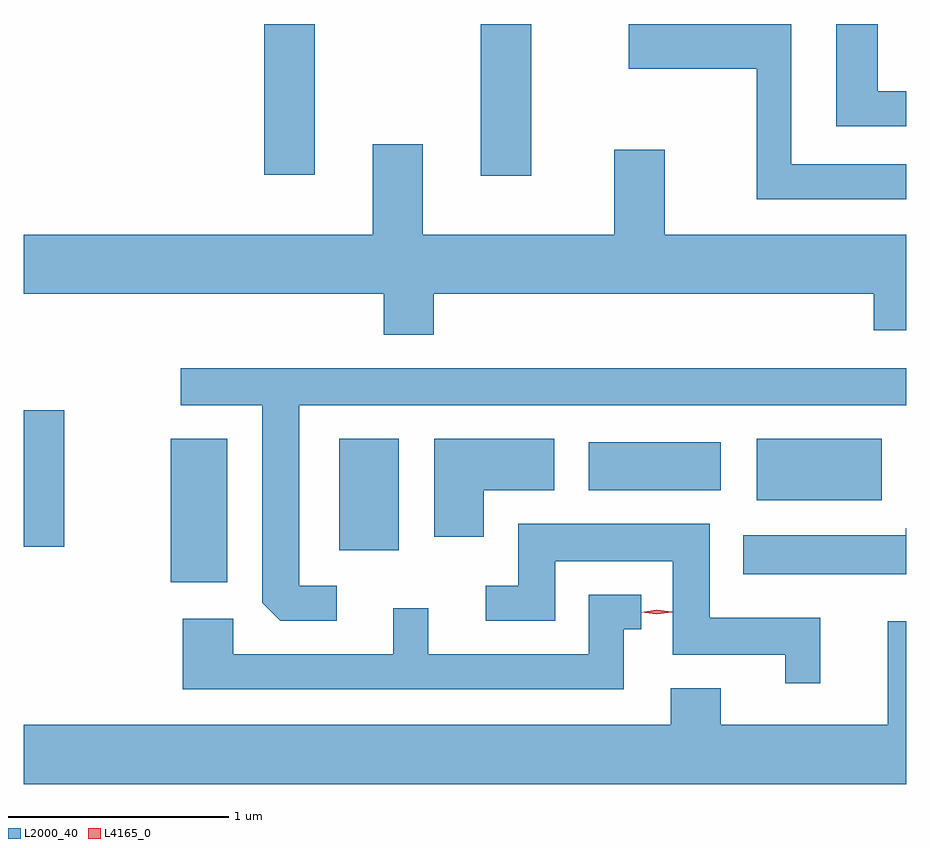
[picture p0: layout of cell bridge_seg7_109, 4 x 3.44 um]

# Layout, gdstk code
import gdstk
lib = gdstk.Library(unit=1e-6, precision=1e-09)
def R(c, l, rs):  # rectangles x0, y0, x1, y1
    for r in rs: c.add(gdstk.rectangle(r[:2], r[2:], *l))
def P(c, l, *ps):  # polygons
    for p in ps: c.add(gdstk.Polygon(p, *l))
L2000_40 = (2000, 40)
L4165_0 = (4165, 0)

bridge_seg7_109 = lib.new_cell('bridge_seg7_109')
R(bridge_seg7_109, L2000_40, [(1564.286,1772.951,1564.544,1773.599), (1565.051,1773.096,1565.319,1773.599), (1563.62,1773.111,1563.804,1773.729), (1566.941,1773.321,1567.509,1773.599), (1566.181,1773.366,1566.779,1773.584), (1565.691,1774.791,1565.919,1775.479), (1564.711,1774.796,1564.939,1775.479)])
P(bridge_seg7_109, L2000_40, [(1567.62,1775.174),(1567.489,1775.174),(1567.489,1775.479),(1567.301,1775.479),(1567.301,1775.016),(1567.62,1775.016)],
  [(1567.62,1774.844),(1567.099,1774.844),(1567.099,1775.479),(1566.361,1775.479),(1566.361,1775.276),(1566.941,1775.276),(1566.941,1774.686),(1567.62,1774.686)],
  [(1565.479,1774.256),(1567.471,1774.256),(1567.471,1774.091),(1567.62,1774.091),(1567.62,1774.524),(1566.524,1774.524),(1566.524,1774.909),(1566.296,1774.909),(1566.296,1774.524),(1565.429,1774.524),(1565.429,1774.934),(1565.201,1774.934),(1565.201,1774.524),(1563.62,1774.524),(1563.62,1774.256),(1565.251,1774.256),(1565.251,1774.071),(1565.479,1774.071)],
  [(1565.038,1772.934),(1564.869,1772.934),(1564.869,1773.751),(1567.62,1773.751),(1567.62,1773.919),(1564.333,1773.919),(1564.333,1773.751),(1564.701,1773.751),(1564.701,1772.857),(1564.782,1772.776),(1565.038,1772.776)],
  [(1565.704,1773.366),(1566.024,1773.366),(1566.024,1773.599),(1565.481,1773.599),(1565.481,1773.156),(1565.704,1773.156)],
  [(1567.229,1772.789),(1566.729,1772.789),(1566.729,1773.214),(1565.861,1773.214),(1565.861,1772.934),(1565.713,1772.934),(1565.713,1772.776),(1566.029,1772.776),(1566.029,1773.046),(1566.561,1773.046),(1566.561,1772.621),(1567.071,1772.621),(1567.071,1772.493),(1567.229,1772.493)],
  [(1567.62,1773.194),(1567.616,1773.194),(1567.616,1773.164),(1566.881,1773.164),(1566.881,1772.986),(1567.62,1772.986)],
  [(1566.339,1772.736),(1566.418,1772.736),(1566.418,1772.894),(1566.181,1772.894),(1566.181,1772.624),(1565.454,1772.624),(1565.454,1772.833),(1565.296,1772.833),(1565.296,1772.624),(1564.569,1772.624),(1564.569,1772.784),(1564.341,1772.784),(1564.341,1772.466),(1566.339,1772.466)],
  [(1567.62,1772.773),(1567.536,1772.773),(1567.536,1772.304),(1566.779,1772.304),(1566.779,1772.469),(1566.551,1772.469),(1566.551,1772.304),(1563.62,1772.304),(1563.62,1772.036),(1567.62,1772.036)])
P(bridge_seg7_109, L4165_0, [(1566.488,1772.805),(1566.419,1772.814),(1566.419,1772.815),(1566.419,1772.815),(1566.488,1772.825),(1566.558,1772.816),(1566.558,1772.816),(1566.558,1772.815)])

lib.write_gds('bridge_seg7_109.gds')
